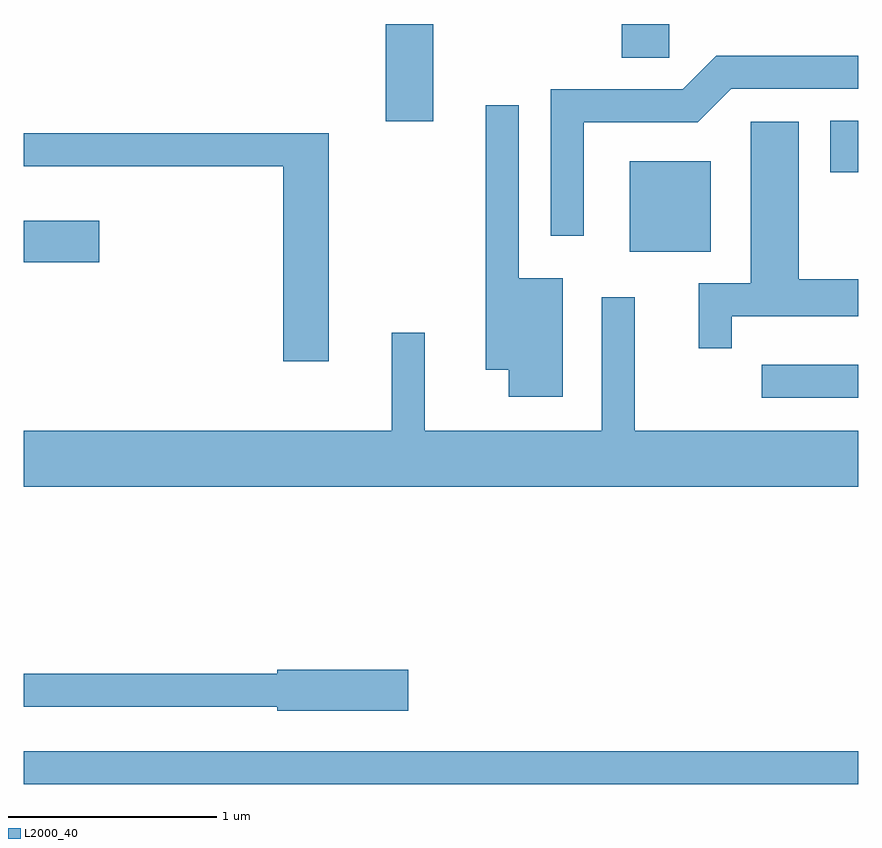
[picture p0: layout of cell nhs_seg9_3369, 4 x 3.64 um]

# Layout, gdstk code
import gdstk
lib = gdstk.Library(unit=1e-6, precision=1e-09)
def R(c, l, rs):  # rectangles x0, y0, x1, y1
    for r in rs: c.add(gdstk.rectangle(r[:2], r[2:], *l))
def P(c, l, *ps):  # polygons
    for p in ps: c.add(gdstk.Polygon(p, *l))
L2000_40 = (2000, 40)

nhs_seg9_3369 = lib.new_cell('nhs_seg9_3369')
R(nhs_seg9_3369, L2000_40, [(283.611,2034.791,287.611,2034.949), (287.148,2036.641,287.611,2036.799), (283.611,2037.291,283.974,2037.489), (286.516,2037.341,286.904,2037.774), (287.476,2037.721,287.611,2037.969), (285.346,2037.966,285.574,2038.432), (286.476,2038.271,286.704,2038.432)])
P(nhs_seg9_3369, L2000_40, [(286.294,2037.961),(286.842,2037.961),(287.002,2038.121),(287.611,2038.121),(287.611,2038.279),(286.929,2038.279),(286.769,2038.119),(286.136,2038.119),(286.136,2037.418),(286.294,2037.418)],
  [(286.194,2037.214),(285.984,2037.214),(285.984,2038.043),(285.826,2038.043),(285.826,2036.776),(285.936,2036.776),(285.936,2036.646),(286.194,2036.646)],
  [(287.004,2037.031),(287.611,2037.031),(287.611,2037.209),(287.324,2037.209),(287.324,2037.964),(287.096,2037.964),(287.096,2037.189),(286.846,2037.189),(286.846,2036.878),(287.004,2036.878)],
  [(285.074,2037.909),(283.611,2037.909),(283.611,2037.751),(284.856,2037.751),(284.856,2036.816),(285.074,2036.816)],
  [(287.611,2036.484),(286.539,2036.484),(286.539,2037.123),(286.381,2037.123),(286.381,2036.484),(285.534,2036.484),(285.534,2036.953),(285.376,2036.953),(285.376,2036.484),(283.611,2036.484),(283.611,2036.216),(287.611,2036.216)],
  [(285.454,2035.339),(284.826,2035.339),(284.826,2035.319),(283.611,2035.319),(283.611,2035.161),(284.826,2035.161),(284.826,2035.141),(285.454,2035.141)])

lib.write_gds('nhs_seg9_3369.gds')
